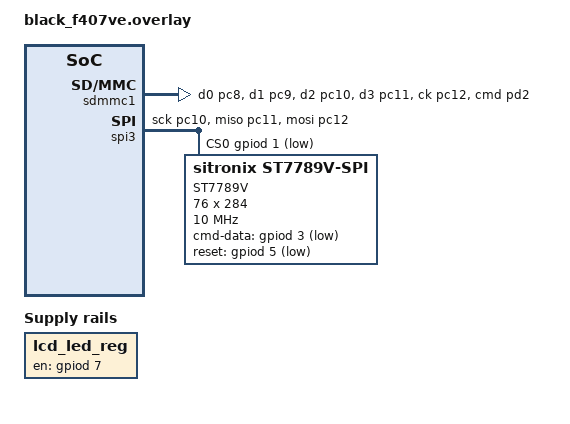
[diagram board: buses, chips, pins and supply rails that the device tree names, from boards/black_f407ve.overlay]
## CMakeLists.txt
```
cmake_minimum_required(VERSION 3.13.1)

set(BOARD "black_f407ve")


if(NOT DEFINED ENV{ZEPHYR_BASE})
  zephyr_base_from_west_topdir()
endif()

find_package(Zephyr REQUIRED HINTS $ENV{ZEPHYR_BASE})

project(app-407 LANGUAGES C)

target_sources(app PRIVATE src/main.c)
target_include_directories(app PRIVATE ${CMAKE_CURRENT_SOURCE_DIR}/include)
```

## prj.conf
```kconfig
# Drivers
CONFIG_GPIO=y
CONFIG_SPI=y
CONFIG_REGULATOR=y

# SDMCC & Filesystem config
CONFIG_DISK_ACCESS=y
CONFIG_SDMMC_STM32=y
CONFIG_FILE_SYSTEM=y
CONFIG_FAT_FILESYSTEM_ELM=y

CONFIG_MAIN_STACK_SIZE=4096

# CONFIG_MIPI_DBI_SPI=y
# CONFIG_MIPI_DBI_SPI_3WIRE=y
CONFIG_DISPLAY=y
CONFIG_DISPLAY_LOG_LEVEL_ERR=y
# CONFIG_ST7789V=y
CONFIG_ST7789V_SPI=y

# LVGL
CONFIG_LVGL=y
CONFIG_LV_USE_LOG=y
CONFIG_LV_COLOR_DEPTH_16=y
CONFIG_LV_COLOR_16_SWAP=y
CONFIG_LV_Z_BITS_PER_PIXEL=16
CONFIG_LV_CONF_MINIMAL=y
```

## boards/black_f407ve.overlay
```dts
/ {
    chosen {
        zephyr,display = &st7789v;
    };

    lcd_led_reg: regulator_lcd_led {
        compatible = "regulator-fixed";
        regulator-name = "LCD_LED_REG";
        enable-gpios = <&gpiod 7 GPIO_ACTIVE_HIGH>;
    };

    // my_mipi_dbi {
    //     compatible = "zephyr,mipi-dbi-spi";
    //     status = "okay";
    //     #address-cells = <1>;
    //     #size-cells = <0>;
    //     spi-dev = <&spi3>;
    //     dc-gpios = <&gpiod 3 GPIO_ACTIVE_LOW>;
    //     reset-gpios = <&gpiod 5 GPIO_ACTIVE_LOW>;

    //     st7789v: st7789v@0 {
    //         compatible = "sitronix,st7789v";
    //         reg = <0>;

    //         mipi-max-frequency = <DT_FREQ_M(100)>;

    //         inversion-off;
    //         mipi-mode = "MIPI_DBI_MODE_SPI_4WIRE";

    //         width = <76>;
    //         height = <284>;

    //         x-offset = <82>;
    //         y-offset = <18>;

    //         vcom = <0x19>;
    //         gctrl = <0x35>;
    //         vrhs = <0x12>;
    //         vdvs = <0x20>;
    //         mdac = <0x08>;
    //         lcm = <0x2c>;
    //         colmod = <0x55>;
    //         gamma = <0x01>;
    //         porch-param = [0c 0c 00 33 33];
    //         cmd2en-param = [5a 69 02 01];
    //         pwctrl1-param = [a4 a1];
    //         pvgam-param = [d0 04 0d 11 13 2b 3f 54 4c 18 0d 0B 1f 23];
    //         nvgam-param = [d0 04 0c 11 13 2c 3f 44 51 2f 1f 1f 20 23];
    //         ram-param = [00 f0];
    //         rgb-param = [cd 08 14];
    //     };
    // };
};

&sdmmc1 {
    compatible = "st,stm32-sdmmc";
    pinctrl-0 = <&sdio_d0_pc8 &sdio_d1_pc9
                    &sdio_d2_pc10 &sdio_d3_pc11
                    &sdio_ck_pc12 &sdio_cmd_pd2>;
    pinctrl-names = "default";
    status = "okay";
};

&spi3 {
    pinctrl-0 = <&spi3_sck_pc10 &spi3_miso_pc11 &spi3_mosi_pc12>;
    pinctrl-names = "default";
    status = "okay";
    cs-gpios = <&gpiod 1 GPIO_ACTIVE_LOW>;

    st7789v: st7789v@0 {
        compatible = "sitronix,st7789v-spi";
        label = "ST7789V";
        spi-max-frequency = <10000000>;
        reg = <0>;
        cmd-data-gpios = <&gpiod 3 GPIO_ACTIVE_LOW>;
        reset-gpios = <&gpiod 5 GPIO_ACTIVE_LOW>;
        
        width = <76>;
        height = <284>;

        x-offset = <82>;
        y-offset = <18>;

        vcom = <0x19>;
        gctrl = <0x35>;
        vrhs = <0x12>;
        vdvs = <0x20>;
        mdac = <0x08>;
        lcm = <0x2c>;
        colmod = <0x55>;
        gamma = <0x01>;
        porch-param = [0c 0c 00 33 33];
        cmd2en-param = [5a 69 02 01];
        pwctrl1-param = [a4 a1];
        pvgam-param = [d0 04 0d 11 13 2b 3f 54 4c 18 0d 0B 1f 23];
        nvgam-param = [d0 04 0c 11 13 2c 3f 44 51 2f 1f 1f 20 23];
        ram-param = [00 f0];
        rgb-param = [cd 08 14];
        // inverted-sck;
    };
};
```

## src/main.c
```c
#include <stdint.h>
#include <stdlib.h>

#include <zephyr/kernel.h>
#include <zephyr/device.h>
#include <zephyr/fs/fs.h>
#include <zephyr/fs/fs_interface.h>
#include <zephyr/drivers/disk.h>
#include <zephyr/drivers/spi.h>
#include <zephyr/drivers/gpio.h>
#include "core/lv_obj.h"
#include "core/lv_obj_style_gen.h"
#include "lv_api_map_v8.h"
#include "lv_init.h"
#include "misc/lv_color.h"
#include "misc/lv_palette.h"
#include "misc/lv_timer.h"
#include "zephyr/drivers/display.h"
#include "zephyr/drivers/regulator.h"
#include <zephyr/storage/disk_access.h>
#include <ff.h>
#include <lvgl.h>

#include <zephyr/logging/log.h>
LOG_MODULE_REGISTER(main);

#define DISPLAY_WIDTH 76
#define DISPLAY_HEIGHT 284
#define PIXEL_SIZE 2
static uint8_t buf[DISPLAY_WIDTH * DISPLAY_HEIGHT * PIXEL_SIZE];

static const struct device *lcd_led_reg = DEVICE_DT_GET(DT_NODELABEL(lcd_led_reg));
const struct device *display = DEVICE_DT_GET(DT_CHOSEN(zephyr_display));

#define MOUNT_POINT "/SD:"

FATFS fatfs_fs;

static struct fs_mount_t fat_fs_mnt = {
    .type = FS_FATFS,
    .mnt_point = MOUNT_POINT,
    .fs_data = &fatfs_fs,
    .storage_dev = (void *)"SD",
};

static void ls_dir(const char *path)
{
    struct fs_dir_t dirp;
    struct fs_dirent entry;

    fs_dir_t_init(&dirp);

    int res = fs_opendir(&dirp, path);
    if (res != 0) {
        LOG_ERR("fs_opendir failed (%d)", res);
        return;
    }

    LOG_INF("Contents of %s", path);
    while(1) {
        res = fs_readdir(&dirp, &entry);
        if (res != 0 || entry.name[0] == 0) {
            break;
        }

        if (entry.type == FS_DIR_ENTRY_DIR) {
            printk("[DIR ] %s\n", entry.name);
        } else {
            printk("[FILE] %s (%zu bytes)\n", entry.name, entry.size);
        }
    }

    fs_closedir(&dirp);
}

static int fatfs_mount(void)
{
    int ret;

    do {
        static const char *disk_pdrv = "SD";
        uint64_t memory_size_mb;
        uint32_t sector_count;
        uint32_t sector_size;

        ret = disk_access_init(disk_pdrv);
        if (ret != 0) {
            LOG_ERR("Disk access init failed: %d", ret);
            break;
        }

        ret = disk_access_ioctl(disk_pdrv, DISK_IOCTL_GET_SECTOR_COUNT, 
                                &sector_count);
        if (ret != 0) {
            LOG_ERR("Unable to get sector count");
            break;
        }

        ret = disk_access_ioctl(disk_pdrv, DISK_IOCTL_GET_SECTOR_SIZE, 
                                &sector_size);
        if (ret != 0) {
            LOG_ERR("Unable to get sector size");
            break;
        }

        LOG_INF("Sector size %u", sector_size);

        memory_size_mb = (uint64_t)sector_count * sector_size;
        LOG_INF("Memory size (MB) %u", (uint32_t)(memory_size_mb >> 20));

        ret = fs_mount(&fat_fs_mnt);
        if (ret != 0) {
            LOG_ERR("Mount failed: %d", ret);
            break;
        }

        LOG_INF("SD card mounted at %s", MOUNT_POINT);
    } while (0);

    return ret;
}

void fill_rgb565(uint16_t color)
{
    struct display_buffer_descriptor desc = {
        .width = DISPLAY_WIDTH,
        .height = DISPLAY_HEIGHT,
        .pitch = DISPLAY_WIDTH,
        .buf_size = sizeof(buf),
    };

    for (int i = 0; i < DISPLAY_WIDTH * DISPLAY_HEIGHT; i++) {
        buf[i * 2]     = (color >> 8) & 0xFF;
        buf[i * 2 + 1] = color & 0xFF;
    }

    int ret = display_write(display, 0, 0, &desc, buf);
    if (ret != 0) {
        LOG_ERR("Display write failed: %d", ret);
    }
}

#define BLUE_COLOR lv_color_hex(0x0000FF)

int main(void) 
{
    int ret;

    if (!device_is_ready(lcd_led_reg)) {
        LOG_ERR("LED regulator is not ready");
        return EXIT_FAILURE;
    }

    if (!device_is_ready(display)) {
        LOG_ERR("Display is not ready");
    }

    regulator_enable(lcd_led_reg);

    // fill_rgb565(0xFFE0);

    lv_init();
    lv_obj_t *scr = lv_scr_act();

    lv_obj_set_style_bg_color(scr, BLUE_COLOR, LV_PART_MAIN);
    lv_obj_set_style_bg_opa(scr, LV_OPA_COVER, LV_PART_MAIN);

    ret = fatfs_mount();
    if (ret != 0) {
        return EXIT_FAILURE;
    }
    
    ls_dir(MOUNT_POINT);

    while (1) {
        lv_timer_handler();
        k_sleep(K_MSEC(10));
    }

    return EXIT_SUCCESS;
}
```
